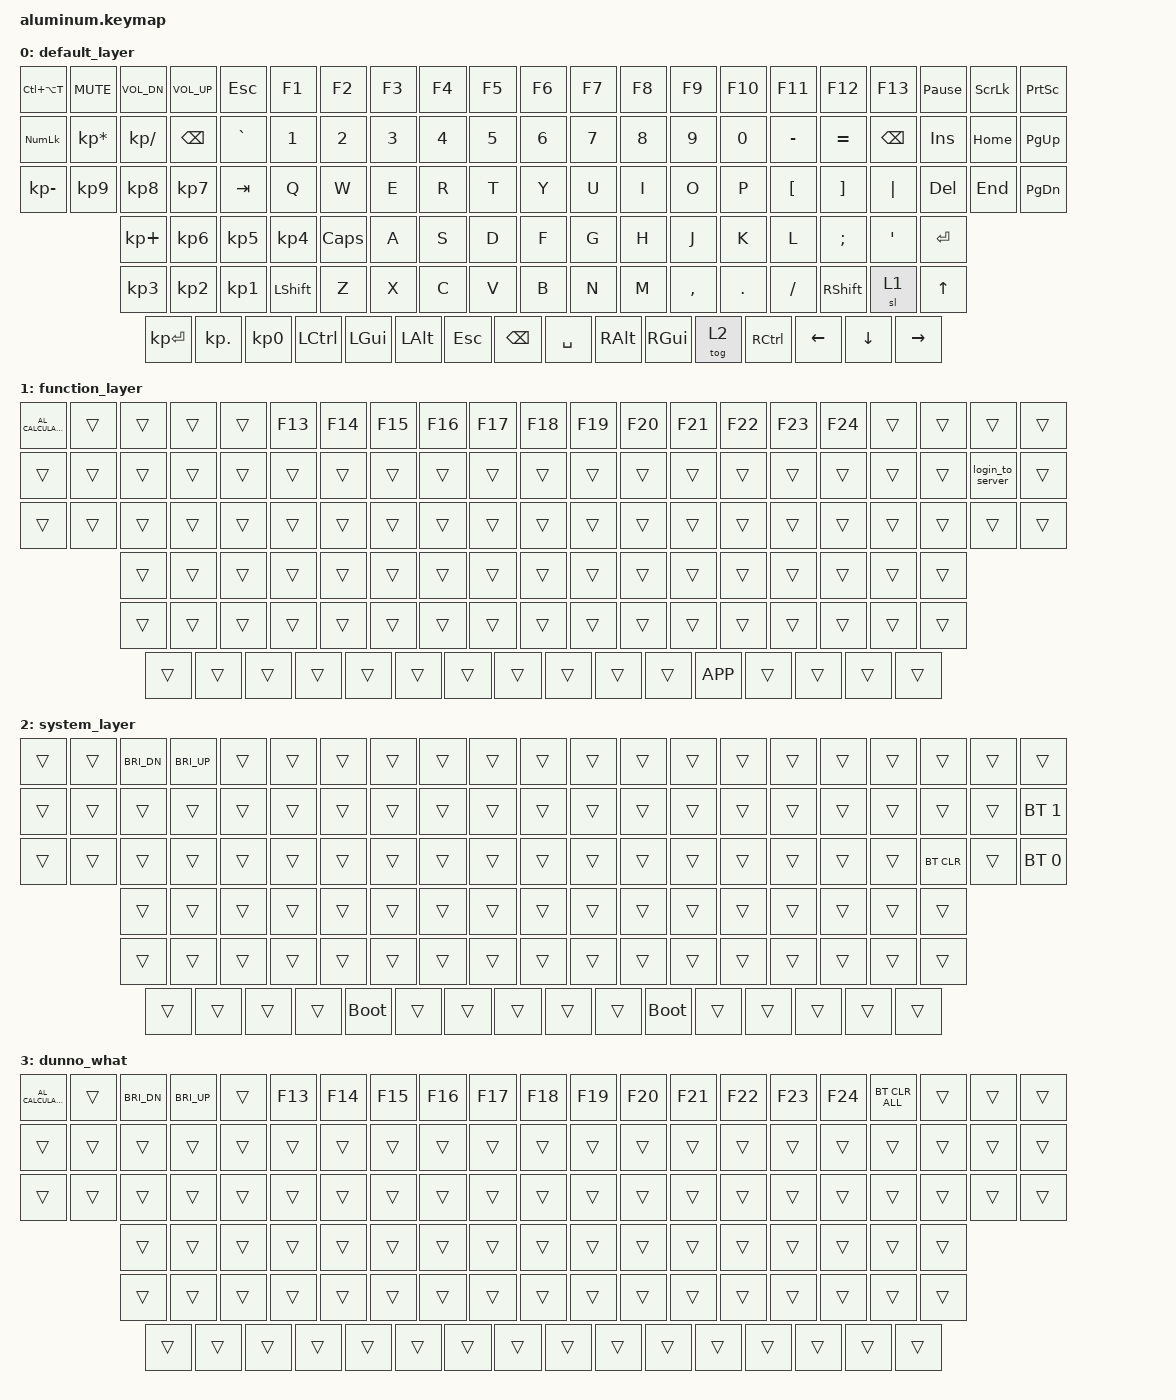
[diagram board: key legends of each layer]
#include <behaviors.dtsi>
#include <dt-bindings/zmk/keys.h>
#include <dt-bindings/zmk/bt.h>

&sl {
    release-after-ms = <10000>;
};

/ {
    macros {
        login_to_server: login_to_server {
            compatible = "zmk,behavior-macro";
            #binding-cells = <0>;
            wait-ms = <30>;
            tap-ms = <30>;
            bindings
                = <&macro_wait_time 1500>
                , <&macro_tap &kp LC(LA(T))>
                , <&macro_wait_time 30>
                , <&macro_tap &kp S &kp S &kp H &kp SPACE>
                , <&macro_tap &kp A &kp N &kp D &kp R &kp E &kp W &kp P &kp J &kp E &kp N &kp K &kp I &kp N &kp S>
                , <&macro_press &kp LSHFT>
                , <&macro_tap &kp N2>
                , <&macro_release &kp LSHFT>
                , <&macro_tap &kp H &kp O &kp M &kp E &kp S &kp E &kp R &kp V &kp E &kp R>
                , <&macro_tap &kp RET>
                ;
        };
    };
};

/ {
    keymap {
        compatible = "zmk,keymap";

        default_layer {
            bindings = <
    // Row 0 
                   &kp LC(LA(T))      &kp C_MUTE    &kp C_VOL_DN  &kp C_VOL_UP    &kp ESC              &kp F1    &kp F2    &kp F3    &kp F4      &kp F5    &kp F6    &kp F7    &kp F8    &kp F9    &kp F10   &kp F11   &kp F12   &kp F13            &kp PAUSE_BREAK  &kp SLCK   &kp PSCRN 
    // Row 1
                   &kp KP_NLCK   &kp KP_MULTIPLY  &kp KP_DIVIDE  &kp BSPC    &kp GRAVE  &kp N1    &kp N2    &kp N3    &kp N4    &kp N5        &kp N6    &kp N7    &kp N8    &kp N9    &kp N0    &kp MINUS &kp EQUAL   &kp BSPC                       &kp INS   &kp HOME  &kp PG_UP
    // Row 2
                   &kp KP_MINUS  &kp KP_N9     &kp KP_N8     &kp KP_N7       &kp TAB       &kp Q     &kp W     &kp E     &kp R     &kp T         &kp Y     &kp U     &kp I     &kp O     &kp P     &kp LBKT  &kp RBKT   &kp PIPE                       &kp DEL   &kp END   &kp PG_DN
    // Row 3
                   &kp KP_PLUS   &kp KP_N6     &kp KP_N5     &kp KP_N4       &kp CAPS       &kp A     &kp S     &kp D     &kp F     &kp G         &kp H     &kp J     &kp K     &kp L     &kp SEMI  &kp SQT       &kp RET
    // Row 4
                                 &kp KP_N3     &kp KP_N2     &kp KP_N1       &kp LSHFT      &kp Z     &kp X     &kp C     &kp V     &kp B         &kp N     &kp M     &kp COMMA &kp DOT   &kp FSLH  &kp RSHFT   &sl 1                         &kp UP
    // Row 5
                   &kp KP_ENTER  &kp KP_DOT &kp KP_N0                       &kp LCTRL &kp LGUI &kp LALT &kp ESC         &kp BSPC     &kp SPACE   &kp RALT    &kp RGUI  &tog 2 &kp RCTRL                                    &kp LEFT    &kp DOWN  &kp RIGHT
            >;
        };

        function_layer {
            bindings = <
    // Row 0
    &kp C_AL_CALCULATOR  &trans  &trans  &trans &trans &kp F13  &kp F14  &kp F15  &kp F16  &kp F17  &kp F18  &kp F19  &kp F20  &kp F21  &kp F22 &kp F23  &kp F24  &trans  &trans  &trans  &trans
    // Row 1
    &trans  &trans  &trans  &trans  &trans  &trans  &trans  &trans  &trans  &trans  &trans  &trans  &trans  &trans  &trans  &trans  &trans  &trans  &trans  &login_to_server  &trans
    // Row 2
    &trans  &trans  &trans  &trans  &trans  &trans  &trans  &trans  &trans  &trans  &trans  &trans  &trans  &trans  &trans  &trans  &trans  &trans  &trans  &trans  &trans
    // Row 3
    &trans  &trans  &trans  &trans  &trans  &trans  &trans  &trans  &trans  &trans  &trans  &trans  &trans  &trans  &trans  &trans  &trans
    // Row 4
    &trans  &trans  &trans  &trans  &trans  &trans  &trans  &trans  &trans  &trans  &trans  &trans  &trans  &trans  &trans  &trans  &trans
    // Row 5
    &trans  &trans  &trans  &trans  &trans  &trans  &trans  &trans  &trans  &trans  &trans  &kp K_APP  &trans  &trans  &trans  &trans
            >;
        };


        system_layer {
            bindings = <
    // Row 0
    &trans  &trans  &kp C_BRI_DN  &kp C_BRI_UP &trans &trans &trans &trans &trans  &trans  &trans  &trans  &trans  &trans  &trans  &trans  &trans  &trans  &trans  &trans  &trans
    // Row 1
    &trans  &trans  &trans  &trans  &trans  &trans  &trans  &trans  &trans  &trans  &trans  &trans  &trans  &trans  &trans  &trans  &trans  &trans  &trans  &trans  &bt BT_SEL 1
    // Row 2
    &trans  &trans  &trans  &trans  &trans  &trans  &trans  &trans  &trans  &trans  &trans  &trans  &trans  &trans  &trans  &trans  &trans  &trans  &bt BT_CLR  &trans  &bt BT_SEL 0
    // Row 3
    &trans  &trans  &trans  &trans  &trans  &trans  &trans  &trans  &trans  &trans  &trans  &trans  &trans  &trans  &trans  &trans  &trans
    // Row 4
    &trans  &trans  &trans  &trans  &trans  &trans  &trans  &trans  &trans  &trans  &trans  &trans  &trans  &trans  &trans  &trans  &trans
    // Row 5 windows update haha
    &trans  &trans  &trans  &trans  &bootloader  &trans  &trans  &trans  &trans  &trans  &bootloader  &trans  &trans  &trans  &trans  &trans
            >;
        };

        dunno_what {
            bindings = <
    // Row 0
    &kp C_AL_CALCULATOR  &trans  &kp C_BRI_DN  &kp C_BRI_UP &trans &kp F13  &kp F14  &kp F15  &kp F16  &kp F17  &kp F18  &kp F19  &kp F20  &kp F21  &kp F22 &kp F23  &kp F24  &bt BT_CLR_ALL  &trans  &trans  &trans
    // Row 1
    &trans  &trans  &trans  &trans  &trans  &trans  &trans  &trans  &trans  &trans  &trans  &trans  &trans  &trans  &trans  &trans  &trans  &trans  &trans  &trans  &trans
    // Row 2
    &trans  &trans  &trans  &trans  &trans  &trans  &trans  &trans  &trans  &trans  &trans  &trans  &trans  &trans  &trans  &trans  &trans  &trans  &trans  &trans  &trans
    // Row 3
    &trans  &trans  &trans  &trans  &trans  &trans  &trans  &trans  &trans  &trans  &trans  &trans  &trans  &trans  &trans  &trans  &trans
    // Row 4
    &trans  &trans  &trans  &trans  &trans  &trans  &trans  &trans  &trans  &trans  &trans  &trans  &trans  &trans  &trans  &trans  &trans
    // Row 5
    &trans  &trans  &trans  &trans  &trans  &trans  &trans  &trans  &trans  &trans  &trans  &trans  &trans  &trans  &trans  &trans
            >;
        };
    };
};
